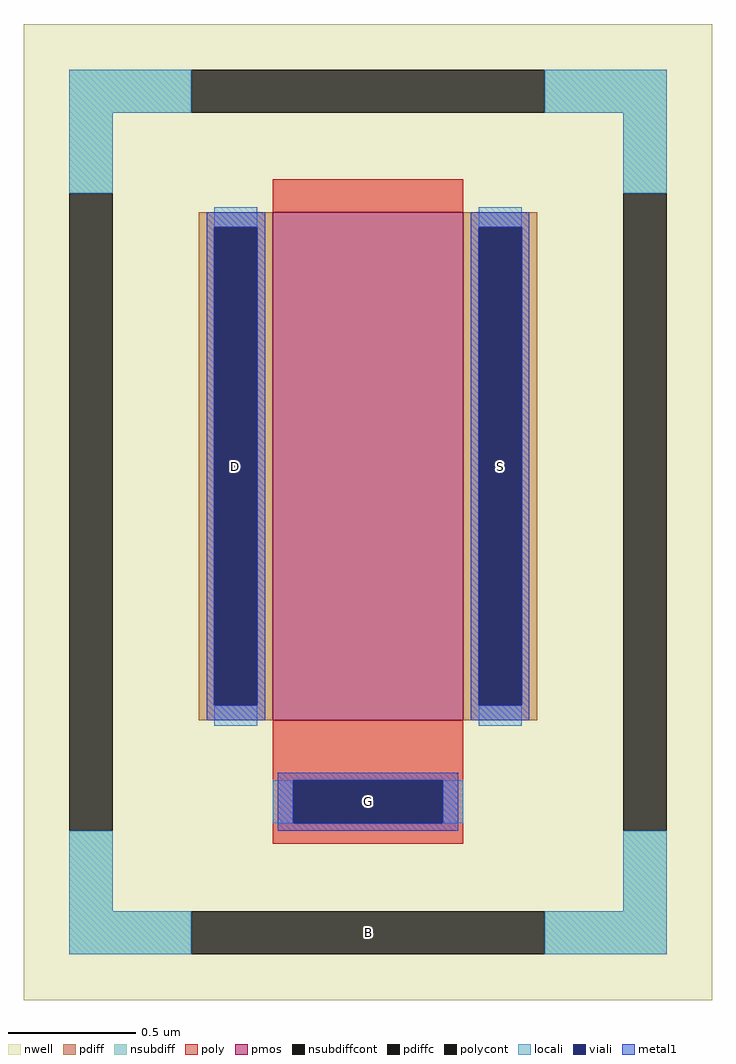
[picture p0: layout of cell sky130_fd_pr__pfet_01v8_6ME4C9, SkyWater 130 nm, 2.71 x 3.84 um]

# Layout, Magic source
magic
tech sky130A
magscale 1 2
<< nwell >>
rect -271 -384 271 384
<< pmos >>
rect -75 -164 75 236
<< pdiff >>
rect -133 224 -75 236
rect -133 -152 -121 224
rect -87 -152 -75 224
rect -133 -164 -75 -152
rect 75 224 133 236
rect 75 -152 87 224
rect 121 -152 133 224
rect 75 -164 133 -152
<< pdiffc >>
rect -121 -152 -87 224
rect 87 -152 121 224
<< nsubdiff >>
rect -235 314 -139 348
rect 139 314 235 348
rect -235 251 -201 314
rect 201 251 235 314
rect -235 -314 -201 -251
rect 201 -314 235 -251
rect -235 -348 -139 -314
rect 139 -348 235 -314
<< nsubdiffcont >>
rect -139 314 139 348
rect -235 -251 -201 251
rect 201 -251 235 251
rect -139 -348 139 -314
<< poly >>
rect -75 236 75 262
rect -75 -211 75 -164
rect -75 -245 -59 -211
rect 59 -245 75 -211
rect -75 -261 75 -245
<< polycont >>
rect -59 -245 59 -211
<< locali >>
rect -235 314 -139 348
rect 139 314 235 348
rect -235 251 -201 314
rect 201 251 235 314
rect -121 224 -87 240
rect -121 -168 -87 -152
rect 87 224 121 240
rect 87 -168 121 -152
rect -75 -245 -59 -211
rect 59 -245 75 -211
rect -235 -314 -201 -251
rect 201 -314 235 -251
rect -235 -348 -139 -314
rect 139 -348 235 -314
<< viali >>
rect -121 -152 -87 224
rect 87 -152 121 224
rect -59 -245 59 -211
<< metal1 >>
rect -127 224 -81 236
rect -127 -152 -121 224
rect -87 -152 -81 224
rect -127 -164 -81 -152
rect 81 224 127 236
rect 81 -152 87 224
rect 121 -152 127 224
rect 81 -164 127 -152
rect -71 -211 71 -205
rect -71 -245 -59 -211
rect 59 -245 71 -211
rect -71 -251 71 -245
<< labels >>
rlabel nsubdiffcont 0 -331 0 -331 0 B
port 1 nsew
rlabel pdiffc -104 36 -104 36 0 D
port 2 nsew
rlabel pdiffc 104 36 104 36 0 S
port 3 nsew
rlabel polycont 0 -228 0 -228 0 G
port 4 nsew
<< properties >>
string FIXED_BBOX -218 -331 218 331
string gencell sky130_fd_pr__pfet_01v8
string library sky130
string parameters w 2.0 l 0.75 m 1 nf 1 diffcov 100 polycov 100 guard 1 glc 1 grc 1 gtc 1 gbc 1 tbcov 100 rlcov 100 topc 0 botc 1 poverlap 0 doverlap 1 lmin 0.15 wmin 0.42 class mosfet compatible {sky130_fd_pr__pfet_01v8  sky130_fd_pr__pfet_01v8_lvt sky130_fd_pr__pfet_01v8_hvt  sky130_fd_pr__pfet_g5v0d10v5} full_metal 1 viasrc 100 viadrn 100 viagate 100 viagb 0 viagr 0 viagl 0 viagt 0 doports 1
<< end >>
